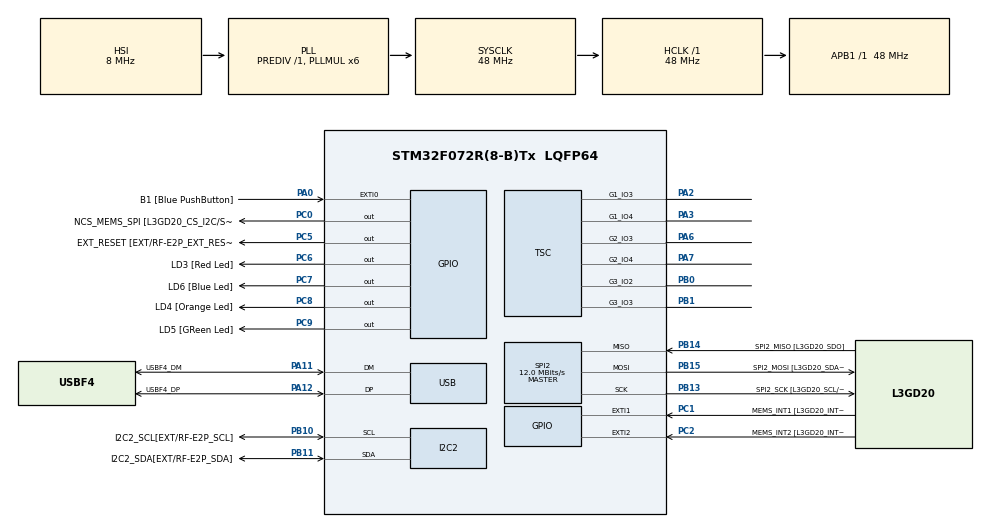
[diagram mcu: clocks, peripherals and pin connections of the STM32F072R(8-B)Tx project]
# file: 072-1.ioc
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I2C2.Timing=0x20303E5D
Mcu.Family=STM32F0
Mcu.Name=STM32F072R(8-B)Tx
Mcu.Package=LQFP64
NVIC.USB_IRQn=true\:0\:0\:false\:false\:true\:false\:true\:true
PA0.GPIO_Label=B1 [Blue PushButton]
PA0.GPIO_ModeDefaultEXTI=GPIO_MODE_EVT_RISING
PA0.Signal=GPXTI0
PA11.GPIO_Label=USBF4_DM
PA11.Mode=Device
PA11.Signal=USB_DM
PA12.GPIO_Label=USBF4_DP
PA12.Mode=Device
PA12.Signal=USB_DP
PA13.GPIO_Label=SWDIO
PA13.Mode=Serial_Wire
PA13.Signal=SYS_SWDIO
PA14.GPIO_Label=SWCLK
PA14.Mode=Serial_Wire
PA14.Signal=SYS_SWCLK
PA2.Mode=G1_IO3-Channel
PA2.Signal=TSC_G1_IO3
PA3.Mode=G1_IO4-Sampling
PA3.Signal=TSC_G1_IO4
PA6.Mode=G2_IO3-Channel
PA6.Signal=TSC_G2_IO3
PA7.Mode=G2_IO4-Sampling
PA7.Signal=TSC_G2_IO4
PB0.Mode=G3_IO2-Channel
PB0.Signal=TSC_G3_IO2
PB1.Mode=G3_IO3-Sampling
PB1.Signal=TSC_G3_IO3
PB10.GPIO_Label=I2C2_SCL[EXT/RF-E2P_SCL]
PB10.GPIO_Pu=GPIO_PULLUP
PB10.Mode=I2C
PB10.Signal=I2C2_SCL
PB11.GPIO_Label=I2C2_SDA[EXT/RF-E2P_SDA]
PB11.GPIO_Pu=GPIO_PULLUP
PB11.Mode=I2C
PB11.Signal=I2C2_SDA
PB13.GPIO_Label=SPI2_SCK [L3GD20_SCL/SPC]
PB13.Mode=Full_Duplex_Master
PB13.Signal=SPI2_SCK
PB14.GPIO_Label=SPI2_MISO [L3GD20_SDO]
PB14.Mode=Full_Duplex_Master
PB14.Signal=SPI2_MISO
PB15.GPIO_Label=SPI2_MOSI [L3GD20_SDA/SDI]
PB15.Mode=Full_Duplex_Master
PB15.Signal=SPI2_MOSI
PC0.GPIO_Label=NCS_MEMS_SPI [L3GD20_CS_I2C/SPI]
PC0.Signal=GPIO_Output
PC1.GPIO_Label=MEMS_INT1 [L3GD20_INT1]
PC1.GPIO_ModeDefaultEXTI=GPIO_MODE_EVT_RISING
PC1.Signal=GPXTI1
PC2.GPIO_Label=MEMS_INT2 [L3GD20_INT2]
PC2.GPIO_ModeDefaultEXTI=GPIO_MODE_EVT_RISING
PC2.Signal=GPXTI2
PC5.GPIO_Label=EXT_RESET [EXT/RF-E2P_EXT_RESET]
PC5.Signal=GPIO_Output
PC6.GPIO_Label=LD3 [Red Led]
PC6.Signal=GPIO_Output
PC7.GPIO_Label=LD6 [Blue Led]
PC7.Signal=GPIO_Output
PC8.GPIO_Label=LD4 [Orange Led]
PC8.Signal=GPIO_Output
PC9.GPIO_Label=LD5 [GReen Led]
PC9.Signal=GPIO_Output
ProjectManager.HeapSize=0x200
ProjectManager.StackSize=0x400
ProjectManager.TargetToolchain=STM32CubeIDE
RCC.AHBFreq_Value=48000000
RCC.APB1Freq_Value=48000000
RCC.APB1TimFreq_Value=48000000
RCC.HCLKFreq_Value=48000000
RCC.PLLMUL=RCC_PLL_MUL6
RCC.SYSCLKFreq_VALUE=48000000
RCC.SYSCLKSource=RCC_SYSCLKSOURCE_PLLCLK
SPI2.BaudRatePrescaler=SPI_BAUDRATEPRESCALER_4
SPI2.CalculateBaudRate=12.0 MBits/s
SPI2.Direction=SPI_DIRECTION_2LINES
SPI2.Mode=SPI_MODE_MASTER
SPI2.VirtualType=VM_MASTER
USB.phy_itface=PCD_PHY_EMBEDDED
USB.speed=PCD_SPEED_FULL
USB_DEVICE.CLASS_NAME_FS=CDC
USB_DEVICE.VirtualMode=Cdc
USB_DEVICE.VirtualModeFS=Cdc_FS
VP_USB_DEVICE_VS_USB_DEVICE_CDC_FS.Mode=CDC_FS
board=STM32F072B-DISCO

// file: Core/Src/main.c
/* USER CODE BEGIN Header */
/**
  ******************************************************************************
  * @file           : main.c
  * @brief          : Main program body
  ******************************************************************************
  * @attention
  *
  * Copyright (c) 2023 STMicroelectronics.
  * All rights reserved.
  *
  * This software is licensed under terms that can be found in the LICENSE file
  * in the root directory of this software component.
  * If no LICENSE file comes with this software, it is provided AS-IS.
  *
  ******************************************************************************
  */
/* USER CODE END Header */
#include "main.h"
#include "usb_device.h"

/* USER CODE BEGIN Includes */
#include "usbd_cdc_if.h"
/* USER CODE END Includes */

I2C_HandleTypeDef hi2c2;

SPI_HandleTypeDef hspi2;

TSC_HandleTypeDef htsc;

void SystemClock_Config(void);
static void MX_GPIO_Init(void);
static void MX_I2C2_Init(void);
static void MX_SPI2_Init(void);
static void MX_TSC_Init(void);

/* USER CODE BEGIN 0 */
char buffer[256];

/* USER CODE END 0 */

int main(void)
{

  /* MCU Configuration--------------------------------------------------------*/

  /* Reset of all peripherals, Initializes the Flash interface and the Systick. */
  HAL_Init();

  /* Configure the system clock */
  SystemClock_Config();

  /* Initialize all configured peripherals */
  MX_GPIO_Init();
  MX_I2C2_Init();
  MX_SPI2_Init();
  MX_TSC_Init();
  MX_USB_DEVICE_Init();

  /* Infinite loop */
  /* USER CODE BEGIN WHILE */
  uint32_t counter = 0;
  while (1)
  {
    /* USER CODE END WHILE */

    /* USER CODE BEGIN 3 */
      memset(buffer, 0, sizeof(buffer)/sizeof(buffer[0]));
      if(counter < 1000)
      {
          sprintf(buffer, "bla %03ld\r\n", counter);
      }
      else if(counter < 1000000)
      {
          sprintf(buffer, "bla %03ld %03ld\r\n", counter/1000, counter%1000);
      }
      else if(counter < 1000000000)
      {
          sprintf(buffer, "bla %03ld %03ld %03ld\r\n",
                  counter/1000000,
                  (counter/1000)%1000,
                  counter%1000);
      }
      uint16_t buffer_len = (uint16_t)strlen(buffer);
      uint8_t err = CDC_Transmit_FS((void*)buffer, buffer_len);
      if(err == USBD_OK){
//          HAL_Delay(100U);
      }else{
          HAL_Delay(800U);
      }
      counter++;
  }
  /* USER CODE END 3 */
}

void SystemClock_Config(void)
{
  RCC_OscInitTypeDef RCC_OscInitStruct = {0};
  RCC_ClkInitTypeDef RCC_ClkInitStruct = {0};
  RCC_PeriphCLKInitTypeDef PeriphClkInit = {0};

  /** Initializes the RCC Oscillators according to the specified parameters
  * in the RCC_OscInitTypeDef structure.
  */
  RCC_OscInitStruct.OscillatorType = RCC_OSCILLATORTYPE_HSI|RCC_OSCILLATORTYPE_HSI48;
  RCC_OscInitStruct.HSIState = RCC_HSI_ON;
  RCC_OscInitStruct.HSI48State = RCC_HSI48_ON;
  RCC_OscInitStruct.HSICalibrationValue = RCC_HSICALIBRATION_DEFAULT;
  RCC_OscInitStruct.PLL.PLLState = RCC_PLL_ON;
  RCC_OscInitStruct.PLL.PLLSource = RCC_PLLSOURCE_HSI;
  RCC_OscInitStruct.PLL.PLLMUL = RCC_PLL_MUL6;
  RCC_OscInitStruct.PLL.PREDIV = RCC_PREDIV_DIV1;
  if (HAL_RCC_OscConfig(&RCC_OscInitStruct) != HAL_OK)
  {
    Error_Handler();
  }

  /** Initializes the CPU, AHB and APB buses clocks
  */
  RCC_ClkInitStruct.ClockType = RCC_CLOCKTYPE_HCLK|RCC_CLOCKTYPE_SYSCLK
                              |RCC_CLOCKTYPE_PCLK1;
  RCC_ClkInitStruct.SYSCLKSource = RCC_SYSCLKSOURCE_PLLCLK;
  RCC_ClkInitStruct.AHBCLKDivider = RCC_SYSCLK_DIV1;
  RCC_ClkInitStruct.APB1CLKDivider = RCC_HCLK_DIV1;

  if (HAL_RCC_ClockConfig(&RCC_ClkInitStruct, FLASH_LATENCY_1) != HAL_OK)
  {
    Error_Handler();
  }
  PeriphClkInit.PeriphClockSelection = RCC_PERIPHCLK_USB;
  PeriphClkInit.UsbClockSelection = RCC_USBCLKSOURCE_HSI48;

  if (HAL_RCCEx_PeriphCLKConfig(&PeriphClkInit) != HAL_OK)
  {
    Error_Handler();
  }
}

static void MX_I2C2_Init(void)
{

  hi2c2.Instance = I2C2;
  hi2c2.Init.Timing = 0x20303E5D;
  hi2c2.Init.OwnAddress1 = 0;
  hi2c2.Init.AddressingMode = I2C_ADDRESSINGMODE_7BIT;
  hi2c2.Init.DualAddressMode = I2C_DUALADDRESS_DISABLE;
  hi2c2.Init.OwnAddress2 = 0;
  hi2c2.Init.OwnAddress2Masks = I2C_OA2_NOMASK;
  hi2c2.Init.GeneralCallMode = I2C_GENERALCALL_DISABLE;
  hi2c2.Init.NoStretchMode = I2C_NOSTRETCH_DISABLE;
  if (HAL_I2C_Init(&hi2c2) != HAL_OK)
  {
    Error_Handler();
  }

  /** Configure Analogue filter
  */
  if (HAL_I2CEx_ConfigAnalogFilter(&hi2c2, I2C_ANALOGFILTER_ENABLE) != HAL_OK)
  {
    Error_Handler();
  }

  /** Configure Digital filter
  */
  if (HAL_I2CEx_ConfigDigitalFilter(&hi2c2, 0) != HAL_OK)
  {
    Error_Handler();
  }

}

static void MX_SPI2_Init(void)
{

  /* SPI2 parameter configuration*/
  hspi2.Instance = SPI2;
  hspi2.Init.Mode = SPI_MODE_MASTER;
  hspi2.Init.Direction = SPI_DIRECTION_2LINES;
  hspi2.Init.DataSize = SPI_DATASIZE_4BIT;
  hspi2.Init.CLKPolarity = SPI_POLARITY_LOW;
  hspi2.Init.CLKPhase = SPI_PHASE_1EDGE;
  hspi2.Init.NSS = SPI_NSS_SOFT;
  hspi2.Init.BaudRatePrescaler = SPI_BAUDRATEPRESCALER_4;
  hspi2.Init.FirstBit = SPI_FIRSTBIT_MSB;
  hspi2.Init.TIMode = SPI_TIMODE_DISABLE;
  hspi2.Init.CRCCalculation = SPI_CRCCALCULATION_DISABLE;
  hspi2.Init.CRCPolynomial = 7;
  hspi2.Init.CRCLength = SPI_CRC_LENGTH_DATASIZE;
  hspi2.Init.NSSPMode = SPI_NSS_PULSE_ENABLE;
  if (HAL_SPI_Init(&hspi2) != HAL_OK)
  {
    Error_Handler();
  }

}

static void MX_TSC_Init(void)
{

  /** Configure the TSC peripheral
  */
  htsc.Instance = TSC;
  htsc.Init.CTPulseHighLength = TSC_CTPH_2CYCLES;
  htsc.Init.CTPulseLowLength = TSC_CTPL_2CYCLES;
  htsc.Init.SpreadSpectrum = DISABLE;
  htsc.Init.SpreadSpectrumDeviation = 1;
  htsc.Init.SpreadSpectrumPrescaler = TSC_SS_PRESC_DIV1;
  htsc.Init.PulseGeneratorPrescaler = TSC_PG_PRESC_DIV4;
  htsc.Init.MaxCountValue = TSC_MCV_8191;
  htsc.Init.IODefaultMode = TSC_IODEF_OUT_PP_LOW;
  htsc.Init.SynchroPinPolarity = TSC_SYNC_POLARITY_FALLING;
  htsc.Init.AcquisitionMode = TSC_ACQ_MODE_NORMAL;
  htsc.Init.MaxCountInterrupt = DISABLE;
  htsc.Init.ChannelIOs = TSC_GROUP1_IO3|TSC_GROUP2_IO3|TSC_GROUP3_IO2;
  htsc.Init.ShieldIOs = 0;
  htsc.Init.SamplingIOs = TSC_GROUP1_IO4|TSC_GROUP2_IO4|TSC_GROUP3_IO3;
  if (HAL_TSC_Init(&htsc) != HAL_OK)
  {
    Error_Handler();
  }

}

static void MX_GPIO_Init(void)
{
  GPIO_InitTypeDef GPIO_InitStruct = {0};

  /* GPIO Ports Clock Enable */
  __HAL_RCC_GPIOC_CLK_ENABLE();
  __HAL_RCC_GPIOA_CLK_ENABLE();
  __HAL_RCC_GPIOB_CLK_ENABLE();

  /*Configure GPIO pin Output Level */
  HAL_GPIO_WritePin(GPIOC, NCS_MEMS_SPI_Pin|EXT_RESET_Pin|LD3_Pin|LD6_Pin
                          |LD4_Pin|LD5_Pin, GPIO_PIN_RESET);

  /*Configure GPIO pins : NCS_MEMS_SPI_Pin EXT_RESET_Pin LD3_Pin LD6_Pin
                           LD4_Pin LD5_Pin */
  GPIO_InitStruct.Pin = NCS_MEMS_SPI_Pin|EXT_RESET_Pin|LD3_Pin|LD6_Pin
                          |LD4_Pin|LD5_Pin;
  GPIO_InitStruct.Mode = GPIO_MODE_OUTPUT_PP;
  GPIO_InitStruct.Pull = GPIO_NOPULL;
  GPIO_InitStruct.Speed = GPIO_SPEED_FREQ_LOW;
  HAL_GPIO_Init(GPIOC, &GPIO_InitStruct);

  /*Configure GPIO pins : MEMS_INT1_Pin MEMS_INT2_Pin */
  GPIO_InitStruct.Pin = MEMS_INT1_Pin|MEMS_INT2_Pin;
  GPIO_InitStruct.Mode = GPIO_MODE_EVT_RISING;
  GPIO_InitStruct.Pull = GPIO_NOPULL;
  HAL_GPIO_Init(GPIOC, &GPIO_InitStruct);

  /*Configure GPIO pin : B1_Pin */
  GPIO_InitStruct.Pin = B1_Pin;
  GPIO_InitStruct.Mode = GPIO_MODE_EVT_RISING;
  GPIO_InitStruct.Pull = GPIO_NOPULL;
  HAL_GPIO_Init(B1_GPIO_Port, &GPIO_InitStruct);

}

void Error_Handler(void)
{
  __disable_irq();
  while (1)
  {
  }
}
